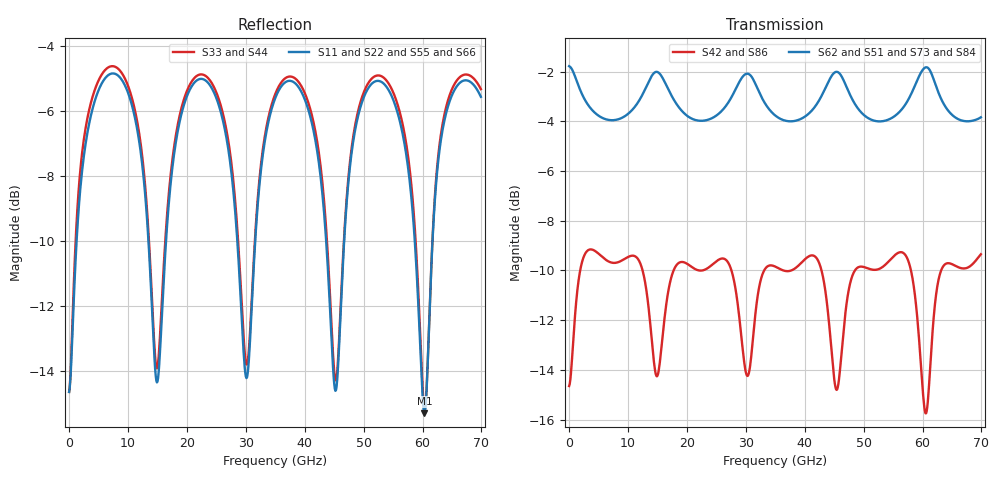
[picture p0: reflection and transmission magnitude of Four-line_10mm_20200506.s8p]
! Touchstone file exported from HFSS 2019.2.0
!  File:  D:/SJTU/Bachelor/thesis/Multi-line/transmission-line-params-extractor/data/4line.aedt
!  Generated:  4:38:55 下午  5月 06, 2020
!  Design:  4linetoRLCG
!  Project:  4line
!  Setup:  Setup1
!  Solution:  Sweep
! Variables:
!  Ls = 10mm
!  Ws = 10mm
!  dx = 0.254mm
!  g = 0.127mm
!  gd = 0.508mm
!  h = 1.6mm
!  hs = 5mm
!  t = 0.1mm
!  wc = 0.254mm
!  xd = 5mm
# GHZ S MA R 50.000000
! Terminal data exported
! Port[1] = M1_1_T1
! Port[2] = M1_T1
! Port[3] = M2_1_T1
! Port[4] = M2_T1
! Port[5] = M1_1_T2
! Port[6] = M1_T2
! Port[7] = M2_1_T2
! Port[8] = M2_T2
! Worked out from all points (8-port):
!   700 points, 10 MHz to 69.91 GHz, reference per port
!   strongest paths, dB at 10 MHz, 17.51 GHz, 35.01 GHz, 52.51 GHz, 69.91 GHz:
!     S62: -1.8, -3.0, -3.8, -4.0, -3.8
!     S51: -1.8, -3.0, -3.8, -4.0, -3.8
!     S73: -1.8, -3.3, -4.1, -4.3, -4.1
!     S84: -1.8, -3.3, -4.1, -4.3, -4.1
!     S42: -14.7, -10.2, -9.8, -10.0, -9.3
!     S86: -14.7, -10.2, -9.9, -10.0, -9.3
!   lowest |S11| = -15.3 dB at 60.31 GHz (marker M1), VSWR 1.41
!   |S11| at or under -10 dB: 13.48 GHz to 16.46 GHz (2.976 GHz wide, 19.9 % of centre); 28.57 GHz to 31.6 GHz (3.031 GHz wide, 10.1 % of centre); 43.65 GHz to 46.69 GHz (3.047 GHz wide, 6.75 % of centre)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
